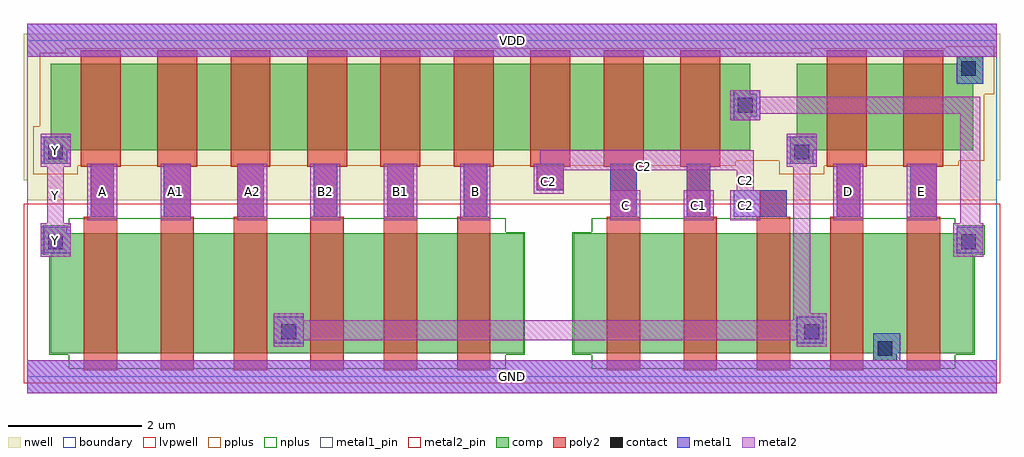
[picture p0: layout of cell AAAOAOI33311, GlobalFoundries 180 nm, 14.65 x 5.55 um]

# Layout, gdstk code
import gdstk
lib = gdstk.Library(unit=1e-6, precision=1e-09)
def R(c, l, rs):  # rectangles x0, y0, x1, y1
    for r in rs: c.add(gdstk.rectangle(r[:2], r[2:], *l))
def A(c, l, x, y, w, h, nx, ny, dx, dy):  # array of equal rectangles
    R(c, l, [(x+i*dx, y+j*dy, x+i*dx+w, y+j*dy+h) for i in range(nx) for j in range(ny)])
boundary = (0, 0)
nwell = (21, 0)
comp = (22, 0)
poly2 = (30, 0)
pplus = (31, 0)
nplus = (32, 0)
contact = (33, 0)
metal1 = (34, 0)
metal1_pin = (34, 10)
metal2 = (36, 0)
metal2_pin = (36, 10)
lvpwell = (204, 0)

aaaoaoi33311 = lib.new_cell('AAAOAOI33311')
R(aaaoaoi33311, boundary, [(0,0,14.55,5.05)])
R(aaaoaoi33311, nwell, [(0,2.65,14.55,2.95), (-0.05,2.95,14.6,5.15)])
R(aaaoaoi33311, comp, [(12.7,0.25,13.05,0.35), (0.35,0.35,7.45,1.85), (8.2,0.35,14.2,1.85), (0.25,1.85,7.45,2.15), (8.2,1.85,14.35,2.15), (0.25,2.15,0.6,2.25), (13.95,2.15,14.35,2.25), (0.25,3.2,0.6,3.4), (11.45,3.2,11.8,3.4), (0.25,3.4,10.85,3.6), (11.45,3.4,14.2,3.6), (0.35,3.6,10.85,3.9), (11.55,3.6,14.2,4.4), (0.35,3.9,10.95,4.25), (0.35,4.25,10.85,4.7), (11.55,4.4,14.35,4.7), (13.95,4.7,14.35,4.8)])
A(aaaoaoi33311, poly2, 4.25, 0.1, 0.5, 2.3, 3, 1, 1.1, 0)
A(aaaoaoi33311, poly2, 9.85, 0.1, 0.5, 2.3, 3, 1, 1.1, 0)
A(aaaoaoi33311, poly2, 4.2, 3.15, 0.6, 1.75, 3, 1, 1.1, 0)
R(aaaoaoi33311, poly2, [(0.85,0.1,1.35,2.4), (2,0.1,2.5,2.4), (3.1,0.1,3.6,2.4), (8.7,0.1,9.2,2.4), (13.2,0.1,13.7,2.4), (0.95,2.4,1.3,3.15), (2.05,2.4,2.45,3.15), (3.15,2.4,3.55,3.15), (4.3,2.4,4.65,3.15), (5.4,2.4,5.8,3.15), (6.55,2.4,6.9,3.15), (8.75,2.4,9.15,3.15), (9.9,2.4,10.25,3.15), (11,2.4,11.4,2.8), (12.15,2.4,12.5,3.15), (13.25,2.4,13.65,3.15), (7.65,2.8,8.05,3.15), (0.8,3.15,1.4,4.9), (1.95,3.15,2.55,4.9), (3.05,3.15,3.65,4.9), (7.55,3.15,8.15,4.9), (8.65,3.15,9.25,4.9), (9.8,3.15,10.4,4.9), (12,3.15,12.6,4.9), (13.15,3.15,13.75,4.9)])
R(aaaoaoi33311, pplus, [(0.09,3.04,0.76,3.17), (11.29,3.04,11.96,3.17), (0.09,3.17,10.63,3.24), (11.29,3.17,13.98,3.24), (0.09,3.24,14.36,3.76), (0.19,3.76,14.36,4.24), (0.19,4.24,14.51,4.86), (0.57,4.86,10.63,4.93), (11.77,4.86,14.51,4.93), (13.79,4.93,14.51,4.96)])
R(aaaoaoi33311, nplus, [(0.62,0.12,7.18,0.33), (8.47,0.12,13.93,0.33), (0.33,0.33,7.47,1.83), (8.18,0.33,14.22,1.83), (0.23,1.83,7.47,2.17), (8.18,1.83,14.37,2.17), (0.23,2.17,7.18,2.27), (8.47,2.17,14.37,2.27), (0.62,2.27,7.18,2.38), (8.47,2.27,13.93,2.38)])
R(aaaoaoi33311, contact, [(12.765,0.315,12.985,0.535), (3.815,0.565,4.035,0.785), (11.665,0.565,11.885,0.785), (0.315,1.915,0.535,2.135), (14.015,1.915,14.235,2.135), (0.315,3.265,0.535,3.485), (11.515,3.265,11.735,3.485), (10.665,3.965,10.885,4.185), (14.015,4.515,14.235,4.735)])
R(aaaoaoi33311, metal1, [(0,-0.25,14.55,0.25), (12.7,0.25,13.1,0.65), (3.7,0.5,4.15,0.9), (11.55,0.5,11.95,0.9), (0.2,1.85,0.65,2.25), (13.95,1.85,14.35,2.25), (0.95,2.4,1.3,3.2), (2.05,2.4,2.45,3.2), (3.15,2.4,3.55,3.2), (4.3,2.4,4.65,3.2), (5.4,2.4,5.8,3.2), (6.55,2.4,6.9,3.2), (8.75,2.4,9.15,3.2), (9.9,2.4,10.25,3.2), (10.6,2.4,11.4,2.8), (12.15,2.4,12.5,3.2), (13.25,2.4,13.65,3.2), (7.65,2.8,8.05,3.2), (0.2,3.2,0.65,3.6), (11.4,3.2,11.85,3.6), (10.6,3.85,11,4.3), (13.95,4.4,14.35,4.8), (0,4.8,14.55,5.3)])
R(aaaoaoi33311, metal1_pin, [(0,-0.25,14.55,0.25), (0,4.8,14.55,5.3)])
R(aaaoaoi33311, metal2, [(0,-0.25,14.55,0.25), (3.7,0.45,4.15,0.55), (11.55,0.45,12,0.55), (3.7,0.55,12,0.85), (3.7,0.85,4.15,0.95), (11.5,0.85,12,0.95), (11.5,0.95,11.75,3.15), (0.2,1.8,0.65,2.3), (13.9,1.8,14.35,2.3), (0.3,2.3,0.55,3.15), (14,2.3,14.3,3.95), (0.9,2.35,1.35,3.2), (2,2.35,2.45,3.2), (3.15,2.35,3.6,3.2), (4.25,2.35,4.7,3.2), (5.35,2.35,5.85,3.2), (6.5,2.35,6.95,3.2), (8.75,2.35,9.2,2.8), (9.85,2.35,10.3,2.8), (10.55,2.35,11,2.8), (12.1,2.35,12.55,3.2), (13.2,2.35,13.65,3.2), (7.6,2.75,8.05,3.1), (10.65,2.8,10.9,3.1), (7.6,3.1,10.9,3.2), (0.2,3.15,0.65,3.65), (11.4,3.15,11.85,3.65), (7.7,3.2,10.9,3.4), (10.55,3.85,11,3.95), (10.55,3.95,14.3,4.2), (10.55,4.2,11,4.3), (0,4.8,14.55,5.3)])
R(aaaoaoi33311, metal2_pin, [(0.2,1.8,0.65,2.3), (0.3,2.3,0.55,3.15), (0.9,2.35,1.35,3.2), (2,2.35,2.45,3.2), (3.15,2.35,3.6,3.2), (4.25,2.35,4.7,3.2), (5.35,2.35,5.85,3.2), (6.5,2.35,6.95,3.2), (8.75,2.35,9.2,2.8), (9.85,2.35,10.3,2.8), (10.55,2.35,11,2.8), (12.1,2.35,12.55,3.2), (13.2,2.35,13.65,3.2), (7.6,2.75,8.05,3.1), (10.65,2.8,10.9,3.1), (7.6,3.1,10.9,3.2), (0.2,3.15,0.65,3.65), (7.7,3.2,10.9,3.4)])
R(aaaoaoi33311, lvpwell, [(-0.05,-0.1,14.6,2.6)])
aaaoaoi33311.add(gdstk.Label('VDD', (7.275,5.05), layer=34, texttype=10))
aaaoaoi33311.add(gdstk.Label('GND', (7.275,0), layer=34, texttype=10))
aaaoaoi33311.add(gdstk.Label('Y', (0.425,2.05), layer=36, texttype=10))
aaaoaoi33311.add(gdstk.Label('Y', (0.425,2.725), layer=36, texttype=10))
aaaoaoi33311.add(gdstk.Label('Y', (0.425,3.4), layer=36, texttype=10))
aaaoaoi33311.add(gdstk.Label('C2', (10.775,2.575), layer=36, texttype=10))
aaaoaoi33311.add(gdstk.Label('C2', (7.825,2.925), layer=36, texttype=10))
aaaoaoi33311.add(gdstk.Label('C2', (10.775,2.95), layer=36, texttype=10))
aaaoaoi33311.add(gdstk.Label('C2', (9.25,3.15), layer=36, texttype=10))
aaaoaoi33311.add(gdstk.Label('C2', (9.3,3.3), layer=36, texttype=10))
aaaoaoi33311.add(gdstk.Label('B1', (5.6,2.775), layer=36, texttype=10))
aaaoaoi33311.add(gdstk.Label('C', (8.975,2.575), layer=36, texttype=10))
aaaoaoi33311.add(gdstk.Label('A', (1.125,2.775), layer=36, texttype=10))
aaaoaoi33311.add(gdstk.Label('B', (6.725,2.775), layer=36, texttype=10))
aaaoaoi33311.add(gdstk.Label('B2', (4.475,2.775), layer=36, texttype=10))
aaaoaoi33311.add(gdstk.Label('A1', (2.225,2.775), layer=36, texttype=10))
aaaoaoi33311.add(gdstk.Label('D', (12.325,2.775), layer=36, texttype=10))
aaaoaoi33311.add(gdstk.Label('E', (13.425,2.775), layer=36, texttype=10))
aaaoaoi33311.add(gdstk.Label('C1', (10.075,2.575), layer=36, texttype=10))
aaaoaoi33311.add(gdstk.Label('A2', (3.375,2.775), layer=36, texttype=10))

lib.write_gds('AAAOAOI33311.gds')
